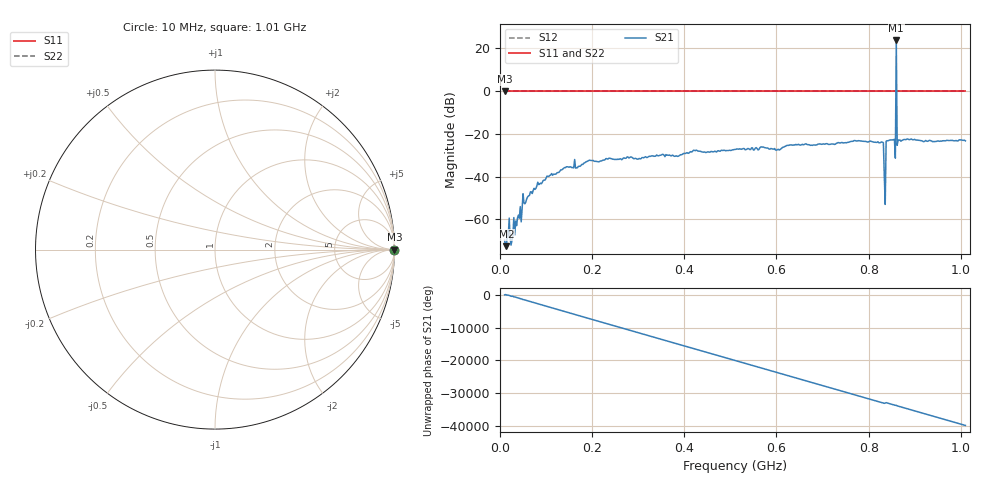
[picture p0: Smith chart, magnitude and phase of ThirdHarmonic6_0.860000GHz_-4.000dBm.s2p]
! 8/16/2025 4:25:33 AM
! C:\ANRITSUVNA\TEMP\TEMP.S2P
! CHANNEL.1
! TR.MEASUREMENT
! RAW.DATA
! RF.CORRECTION.OFF
! AVERAGING.OFF
! IF.BANDWIDTH: 5KHZ
! SWEEPTYPE:  FREQ.SWEEP(Linear)
! Reference Plane Port Info
! PORT:  PORT1  PORT2
! DISTANCE:  0  m  0  m
! TIME:  0  s  0  s
! PHASE.OFFSET:  0  deg.  0  deg.
! LOSS:  0  dB  0  dB
! REF.LOSS:  0  dB  0  dB
! REF.FREQ:  0  Hz  0  Hz
! Power Info
! POWER:  -20  dBm  -20  dBm
! EFF.POWER:  -20  dBm  -20  dBm
! SOURCE.ATTEN:  0  dB  0  dB
! TEST.ATTEN:  0  dB  0  dB
# GHZ S RI R 50.0
! FREQ.GHZ  S11RE  S11IM  S21RE  S21IM  S12RE  S12IM  S22RE  S22IM
!; PortSelection: Port_12
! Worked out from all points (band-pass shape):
!   501 points, 10 MHz to 1.01 GHz, reference 50 ohm
!   highest |S21| = 23.72 dB at 860 MHz (marker M1); lowest = -72.5 dB at 14 MHz (marker M2)
!   |S21| within 3 dB of the highest: 859.891 MHz to 860.1224 MHz (231.4 kHz wide, 0.0269 % of centre)
!   lowest |S11| = 0.0 dB at 10 MHz (marker M3)
!   |S11| at or under -10 dB: nowhere
!   |S22| runs from 0.0 to 0.0 dB; largest |S21 - S12| = 16
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0.01  1 0  0.000145 -0.000294  1 0  1 0
0.014  1 0  4.4e-05 -0.000234  1 0  1 0
0.018  1 0  -0.000289 -0.00029  1 0  1 0
0.028  1 0  -0.00028 -0.000312  1 0  1 0
0.054  1 0  -0.00232 -0.000181  1 0  1 0
0.084  1 0  0.00501 0.00422  1 0  1 0
0.142  1 0  -0.0149 -0.00647  1 0  1 0
0.178  1 0  -0.019 -0.00479  1 0  1 0
0.344  1 0  0.0304 -0.00467  1 0  1 0
0.51  1 0  -0.0418 0.0112  1 0  1 0
0.678  1 0  -0.0166 -0.0515  1 0  1 0
0.828  1 0  0.0589 -0.0274  1 0  1 0
0.832  1 0  -0.0622 0.00529  1 0  1 0
0.838  1 0  0.0291 -0.061  1 0  1 0
0.842  1 0  -0.0482 0.0498  1 0  1 0
0.844  1 0  0.041 0.0578  1 0  1 0
0.854  1 0  0.0716 0.0155  1 0  1 0
0.856  1 0  0.0222 -0.0716  1 0  1 0
0.86  1 0  -15.1 -2.677  1 0  1 0
0.864  1 0  0.0598 -0.0412  1 0  1 0
0.866  1 0  -0.0304 -0.0642  1 0  1 0
1.01  1 0  -0.0617 -0.0302  1 0  1 0
